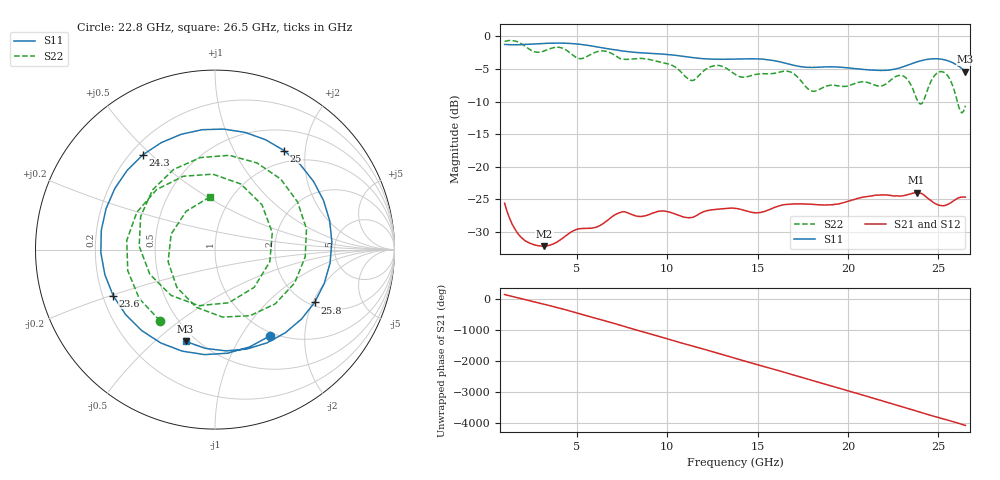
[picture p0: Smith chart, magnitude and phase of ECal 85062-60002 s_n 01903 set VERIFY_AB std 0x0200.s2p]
!Created with skrf (http://scikit-rf.org).
# Hz S RI R 50.0
!freq ReS11 ImS11 ReS21 ImS21 ReS12 ImS12 ReS22 ImS22
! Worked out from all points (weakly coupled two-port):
!   256 points, 1 GHz to 26.5 GHz, reference 50 ohm
!   highest |S21| = -23.94 dB at 23.8 GHz (marker M1); lowest = -32.2 dB at 3.2 GHz (marker M2)
!   lowest |S11| = -5.4 dB at 26.5 GHz (marker M3), VSWR 3.32, Z = 22 - j31.7 ohm
!   |S11| at or under -10 dB: nowhere
!   |S22| runs from -11.7 to -0.6 dB; largest |S21 - S12| = 0.00045
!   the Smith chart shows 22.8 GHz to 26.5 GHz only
!   S11 on the Smith chart (normalised r, x): 22.8 GHz: 0.94, -1.35; 23.6 GHz: 0.24, -0.20; 24.3 GHz: 0.25, +0.47; 25 GHz: 0.80, +1.62; 25.8 GHz: 2.13, -2.07; 26.5 GHz: 0.44, -0.63
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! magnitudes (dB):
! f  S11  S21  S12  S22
! 1 GHz  -1.2  -25.6  -25.6  -0.8
! 1.9 GHz  -1.3  -30.8  -30.8  -1.1
! 3.2 GHz  -1.1  -32.2  -32.2  -2.2
! 5.3 GHz  -1.3  -29.4  -29.4  -3.4
! 6.4 GHz  -1.7  -28.8  -28.8  -2.2
! 7.5 GHz  -2.2  -26.9  -26.9  -3.5
! 9.5 GHz  -2.7  -26.8  -26.9  -3.9
! 11.3 GHz  -3.2  -27.8  -27.8  -6.7
! 12.7 GHz  -3.5  -26.5  -26.5  -4.5
! 13.8 GHz  -3.5  -26.4  -26.4  -5.9
! 16.7 GHz  -4.2  -25.7  -25.7  -5.4
! 18 GHz  -4.8  -25.7  -25.8  -8.4
! 22.3 GHz  -5.2  -24.4  -24.4  -6.9
! 22.8 GHz  -4.9  -24.5  -24.5  -6.0
! 23.6 GHz  -4.1  -24.0  -24.0  -8.1
! 23.8 GHz  -3.9  -23.9  -24.0  -9.6
! 24.1 GHz  -3.7  -24.1  -24.1  -10.3
! 24.3 GHz  -3.6  -24.5  -24.6  -9.0
! 25 GHz  -3.4  -25.9  -25.8  -5.5
! 25.8 GHz  -4.0  -25.3  -25.3  -7.6
! 26.2 GHz  -4.7  -24.7  -24.7  -11.4
! 26.5 GHz  -5.4  -24.6  -24.6  -10.6
